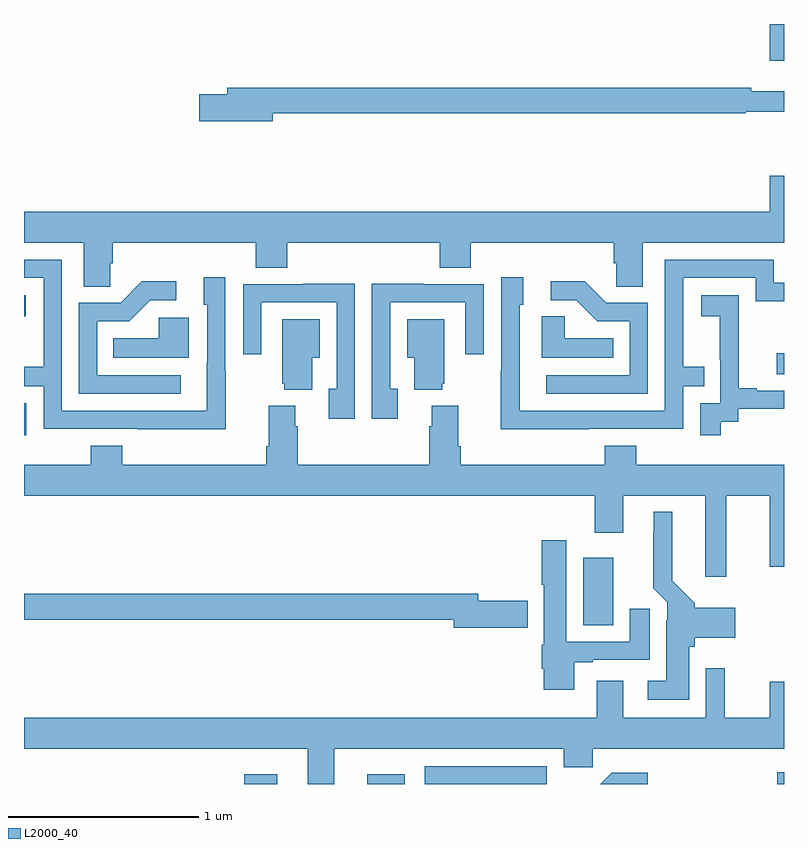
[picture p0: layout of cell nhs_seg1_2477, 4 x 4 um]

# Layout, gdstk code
import gdstk
lib = gdstk.Library(unit=1e-6, precision=1e-09)
def R(c, l, rs):  # rectangles x0, y0, x1, y1
    for r in rs: c.add(gdstk.rectangle(r[:2], r[2:], *l))
def P(c, l, *ps):  # polygons
    for p in ps: c.add(gdstk.Polygon(p, *l))
L2000_40 = (2000, 40)

nhs_seg1_2477 = lib.new_cell('nhs_seg1_2477')
R(nhs_seg1_2477, L2000_40, [(246.158,566.199,246.334,566.251), (246.807,566.199,247.003,566.251), (247.11,566.199,247.752,566.292), (248.964,566.199,249,566.26), (247.943,567.034,248.101,567.391), (245,568.035,245.013,568.203), (248.961,568.356,249,568.465), (245,568.661,245.008,568.771), (248.924,570.006,249,570.199)])
P(nhs_seg1_2477, L2000_40, [(246.31,569.728),(248.799,569.728),(248.799,569.736),(249,569.736),(249,569.845),(248.828,569.845),(248.828,569.864),(246.071,569.864),(246.071,569.828),(245.922,569.828),(245.922,569.686),(246.31,569.686)],
  [(245.454,568.939),(245.468,568.939),(245.468,569.048),(246.221,569.048),(246.221,568.915),(246.386,568.915),(246.386,569.048),(247.187,569.048),(247.187,568.915),(247.352,568.915),(247.352,569.048),(248.105,569.048),(248.105,568.939),(248.118,568.939),(248.118,568.816),(248.257,568.816),(248.257,569.048),(249,569.048),(249,569.401),(248.924,569.401),(248.924,569.212),(245,569.212),(245,569.048),(245.315,569.048),(245.315,568.816),(245.454,568.816)],
  [(246.063,568.373),(246.06,568.373),(246.06,568.867),(245.945,568.867),(245.945,568.722),(245.964,568.722),(245.964,568.418),(245.963,568.418),(245.963,568.164),(245.199,568.164),(245.199,568.959),(245,568.959),(245,568.863),(245.103,568.863),(245.103,568.394),(245,568.394),(245,568.293),(245.103,568.293),(245.103,568.068),(245.599,568.068),(245.599,568.067),(246.063,568.067)],
  [(247.973,568.068),(248.469,568.068),(248.469,568.293),(248.579,568.293),(248.579,568.394),(248.469,568.394),(248.469,568.863),(248.85,568.863),(248.85,568.74),(249,568.74),(249,568.836),(248.947,568.836),(248.947,568.959),(248.373,568.959),(248.373,568.164),(247.608,568.164),(247.608,568.722),(247.627,568.722),(247.627,568.867),(247.512,568.867),(247.512,568.373),(247.51,568.373),(247.51,568.067),(247.973,568.067)],
  [(248.283,568.731),(248.064,568.731),(247.951,568.844),(247.773,568.844),(247.773,568.746),(247.907,568.746),(248.018,568.635),(248.187,568.635),(248.187,568.35),(247.749,568.35),(247.749,568.254),(248.283,568.254)],
  [(245.824,568.35),(245.385,568.35),(245.385,568.635),(245.554,568.635),(245.665,568.746),(245.8,568.746),(245.8,568.844),(245.621,568.844),(245.508,568.731),(245.289,568.731),(245.289,568.254),(245.824,568.254)],
  [(246.967,568.278),(246.927,568.278),(246.927,568.734),(247.323,568.734),(247.323,568.461),(247.419,568.461),(247.419,568.83),(247.103,568.83),(247.103,568.832),(246.831,568.832),(246.831,568.122),(246.967,568.122)],
  [(246.741,568.832),(246.469,568.832),(246.469,568.83),(246.153,568.83),(246.153,568.461),(246.249,568.461),(246.249,568.734),(246.645,568.734),(246.645,568.278),(246.605,568.278),(246.605,568.122),(246.741,568.122)],
  [(248.668,568.105),(248.76,568.105),(248.76,568.173),(249,568.173),(249,568.269),(248.857,568.269),(248.857,568.282),(248.762,568.282),(248.762,568.565),(248.763,568.565),(248.763,568.771),(248.565,568.771),(248.565,568.661),(248.663,568.661),(248.663,568.433),(248.664,568.433),(248.664,568.203),(248.559,568.203),(248.559,568.035),(248.668,568.035)],
  [(248.102,568.546),(247.845,568.546),(247.845,568.661),(247.724,568.661),(247.724,568.442),(248.102,568.442)],
  [(245.866,568.654),(245.709,568.654),(245.709,568.546),(245.47,568.546),(245.47,568.442),(245.866,568.442)],
  [(247.202,568.305),(247.213,568.305),(247.213,568.645),(247.016,568.645),(247.016,568.442),(247.055,568.442),(247.055,568.274),(247.202,568.274)],
  [(246.517,568.442),(246.556,568.442),(246.556,568.645),(246.359,568.645),(246.359,568.305),(246.371,568.305),(246.371,568.274),(246.517,568.274)],
  [(248.695,567.716),(248.924,567.716),(248.924,567.342),(249,567.342),(249,567.88),(248.222,567.88),(248.222,567.979),(248.057,567.979),(248.057,567.88),(247.298,567.88),(247.298,567.976),(247.285,567.976),(247.285,568.189),(247.145,568.189),(247.145,568.082),(247.133,568.082),(247.133,567.88),(246.44,567.88),(246.44,568.082),(246.427,568.082),(246.427,568.189),(246.287,568.189),(246.287,567.976),(246.275,567.976),(246.275,567.88),(245.516,567.88),(245.516,567.979),(245.351,567.979),(245.351,567.88),(245,567.88),(245,567.716),(248.003,567.716),(248.003,567.522),(248.155,567.522),(248.155,567.716),(248.585,567.716),(248.585,567.291),(248.695,567.291)],
  [(248.5,566.922),(248.531,566.922),(248.531,566.969),(248.743,566.969),(248.743,567.127),(248.531,567.127),(248.531,567.15),(248.413,567.268),(248.413,567.631),(248.315,567.631),(248.315,567.521),(248.312,567.521),(248.312,567.229),(248.385,567.156),(248.385,567.062),(248.381,567.062),(248.381,566.743),(248.283,566.743),(248.283,566.642),(248.5,566.642)],
  [(247.897,566.841),(247.993,566.841),(247.993,566.853),(248.293,566.853),(248.293,567.121),(248.189,567.121),(248.189,566.949),(247.855,566.949),(247.855,567.481),(247.724,567.481),(247.724,567.247),(247.736,567.247),(247.736,566.933),(247.724,566.933),(247.724,566.806),(247.736,566.806),(247.736,566.694),(247.897,566.694)],
  [(247.651,567.164),(247.39,567.164),(247.39,567.2),(245,567.2),(245,567.064),(247.262,567.064),(247.262,567.022),(247.651,567.022)],
  [(246.634,566.384),(247.841,566.384),(247.841,566.286),(247.993,566.286),(247.993,566.384),(249,566.384),(249,566.737),(248.924,566.737),(248.924,566.548),(248.688,566.548),(248.688,566.809),(248.589,566.809),(248.589,566.548),(248.155,566.548),(248.155,566.743),(248.015,566.743),(248.015,566.548),(245,566.548),(245,566.384),(246.494,566.384),(246.494,566.199),(246.634,566.199)],
  [(248.284,566.259),(248.094,566.259),(248.034,566.199),(248.284,566.199)])

lib.write_gds('nhs_seg1_2477.gds')
